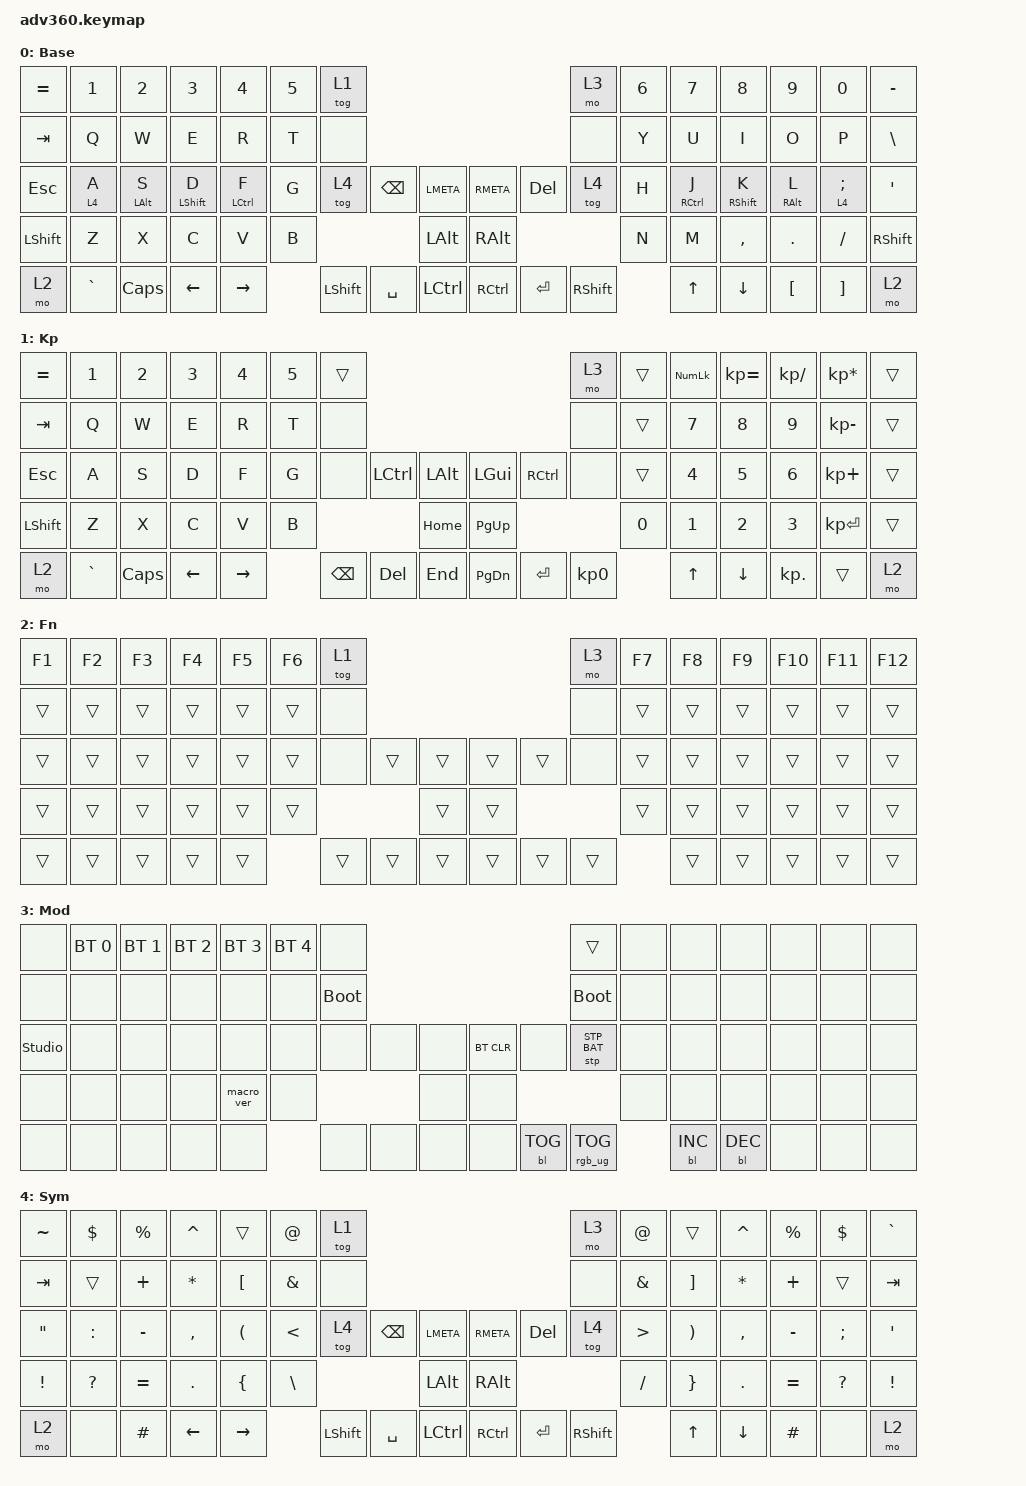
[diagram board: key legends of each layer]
#include <dt-bindings/zmk/stp.h>
#include <behaviors.dtsi>
#include <dt-bindings/zmk/backlight.h>
#include <dt-bindings/zmk/bt.h>
#include <dt-bindings/zmk/keys.h>
#include <dt-bindings/zmk/rgb.h>

/ {
    behaviors {
        #include "macros.dtsi"
      #include "version.dtsi"

        hml: hml {
            compatible = "zmk,behavior-hold-tap";
            label = "HML";
            #binding-cells = <2>;
            tapping-term-ms = <280>;
            flavor = "balanced";
            bindings = <&kp>, <&kp>;

            quick-tap-ms = <175>;
            require-prior-idle-ms = <150>;
            hold-trigger-on-release;
            hold-trigger-key-positions = <7 8 9 10 11 12 13 21 22 23 24 25 26 27 37 38 39 40 41 42 43 44 45 53 54 55 56 57 58 59 68 69 70 71 72 73 74 75>;
        };

        hmr: hmr {
            compatible = "zmk,behavior-hold-tap";
            label = "HMR";
            #binding-cells = <2>;
            tapping-term-ms = <280>;
            flavor = "balanced";
            bindings = <&kp>, <&kp>;

            quick-tap-ms = <175>;
            require-prior-idle-ms = <150>;
            hold-trigger-on-release;
            hold-trigger-key-positions = <0 1 2 3 4 5 6 14 15 16 17 18 19 20 28 29 30 31 32 33 34 35 36 46 47 48 49 50 51 52 60 61 62 63 64 65 66 67>;
        };

        hmlt: hmlt {
            compatible = "zmk,behavior-hold-tap";
            label = "HMLT";
            #binding-cells = <2>;
            tapping-term-ms = <280>;
            flavor = "balanced";
            bindings = <&mo>, <&kp>;

            quick-tap-ms = <175>;
            require-prior-idle-ms = <150>;
            hold-trigger-on-release;
            hold-trigger-key-positions = <7 8 9 10 11 12 13 21 22 23 24 25 26 27 37 38 39 40 41 42 43 44 45 53 54 55 56 57 58 59 68 69 70 71 72 73 74 75>;
        };

        hmrt: hmrt {
            compatible = "zmk,behavior-hold-tap";
            label = "HMRT";
            #binding-cells = <2>;
            tapping-term-ms = <280>;
            flavor = "balanced";
            bindings = <&mo>, <&kp>;

            quick-tap-ms = <175>;
            require-prior-idle-ms = <150>;
            hold-trigger-on-release;
            hold-trigger-key-positions = <0 0 1 2 3 4 5 6 14 15 16 17 18 19 20 28 29 30 31 32 33 34 35 36 46 47 48 49 50 51 52 60 61 62 63 64 65 66 67>;
        };
    };

    keymap {
        compatible = "zmk,keymap";

        default_layer {
            display-name = "Base";
            bindings = <
&kp EQUAL  &kp N1     &kp N2           &kp N3        &kp N4        &kp N5  &tog 1                                                                 &mo 3      &kp N6  &kp N7        &kp N8        &kp N9            &kp N0        &kp MINUS
&kp TAB    &kp Q      &kp W            &kp E         &kp R         &kp T   &none                                                                  &none      &kp Y   &kp U         &kp I         &kp O             &kp P         &kp BSLH
&kp ESC    &hmlt 4 A  &hml LEFT_ALT S  &hml LSHFT D  &hml LCTRL F  &kp G   &tog 4     &kp BACKSPACE  &kp LMETA         &kp RMETA      &kp DELETE  &tog 4     &kp H   &hmr RCTRL J  &hmr RSHFT K  &hmr RIGHT_ALT L  &hmrt 4 SEMI  &kp SQT
&kp LSHFT  &kp Z      &kp X            &kp C         &kp V         &kp B                             &kp LEFT_ALT      &kp RIGHT_ALT                         &kp N   &kp M         &kp COMMA     &kp DOT           &kp FSLH      &kp RSHFT
&mo 2      &kp GRAVE  &kp CAPS         &kp LEFT      &kp RIGHT             &kp LSHFT  &kp SPACE      &kp LCTRL         &kp RCTRL      &kp RET     &kp RSHFT          &kp UP        &kp DOWN      &kp LBKT          &kp RBKT      &mo 2
            >;
        };

        keypad {
            display-name = "Kp";
            bindings = <
&kp EQUAL  &kp N1     &kp N2    &kp N3    &kp N4     &kp N5  &trans                                                   &mo 3      &trans  &kp KP_NUM  &kp KP_EQUAL  &kp KP_DIVIDE  &kp KP_MULTIPLY  &trans
&kp TAB    &kp Q      &kp W     &kp E     &kp R      &kp T   &none                                                    &none      &trans  &kp N7      &kp N8        &kp N9         &kp KP_MINUS     &trans
&kp ESC    &kp A      &kp S     &kp D     &kp F      &kp G   &none     &kp LCTRL  &kp LALT      &kp LGUI   &kp RCTRL  &none      &trans  &kp N4      &kp N5        &kp N6         &kp KP_PLUS      &trans
&kp LSHFT  &kp Z      &kp X     &kp C     &kp V      &kp B                        &kp HOME      &kp PG_UP                        &kp N0  &kp N1      &kp N2        &kp N3         &kp KP_ENTER     &trans
&mo 2      &kp GRAVE  &kp CAPS  &kp LEFT  &kp RIGHT          &kp BSPC  &kp DEL    &kp END       &kp PG_DN  &kp ENTER  &kp KP_N0          &kp UP      &kp DOWN      &kp KP_DOT     &trans           &mo 2
            >;
        };

        fn {
            display-name = "Fn";
            bindings = <
&kp F1  &kp F2  &kp F3  &kp F4  &kp F5  &kp F6  &tog 1                                      &mo 3   &kp F7  &kp F8  &kp F9  &kp F10  &kp F11  &kp F12
&trans  &trans  &trans  &trans  &trans  &trans  &none                                       &none   &trans  &trans  &trans  &trans   &trans   &trans
&trans  &trans  &trans  &trans  &trans  &trans  &none   &trans  &trans      &trans  &trans  &none   &trans  &trans  &trans  &trans   &trans   &trans
&trans  &trans  &trans  &trans  &trans  &trans                  &trans      &trans                  &trans  &trans  &trans  &trans   &trans   &trans
&trans  &trans  &trans  &trans  &trans          &trans  &trans  &trans      &trans  &trans  &trans          &trans  &trans  &trans   &trans   &trans
            >;
        };

        mod {
            display-name = "Mod";
            bindings = <
&none           &bt BT_SEL 0  &bt BT_SEL 1  &bt BT_SEL 2  &bt BT_SEL 3  &bt BT_SEL 4  &none                                                  &trans           &none  &none       &none       &none  &none  &none
&none           &none         &none         &none         &none         &none         &bootloader                                            &bootloader      &none  &none       &none       &none  &none  &none
&studio_unlock  &none         &none         &none         &none         &none         &none        &none  &none      &bt BT_CLR  &none       &stp STP_BAT     &none  &none       &none       &none  &none  &none
&none           &none         &none         &none         &macro_ver    &none                             &none      &none                                    &none  &none       &none       &none  &none  &none
&none           &none         &none         &none         &none                       &none        &none  &none      &none       &bl BL_TOG  &rgb_ug RGB_TOG         &bl BL_INC  &bl BL_DEC  &none  &none  &none
            >;
        };

        symbol {
            display-name = "Sym";
            bindings = <
&kp TILDE          &kp DOLLAR    &kp PERCENT  &kp CARET   &trans                &kp AT         &tog 1                                                              &mo 3      &kp AT            &trans    &kp CARET   &kp PERCENT  &kp DOLLAR    &kp GRAVE
&kp TAB            &trans        &kp PLUS     &kp ASTRK   &kp LBKT              &kp AMPS       &none                                                               &none      &kp AMPS          &kp RBKT  &kp ASTRK   &kp PLUS     &trans        &kp TAB
&kp DOUBLE_QUOTES  &kp COLON     &kp MINUS    &kp COMMA   &kp LEFT_PARENTHESIS  &kp LESS_THAN  &tog 4     &kp BACKSPACE  &kp LMETA         &kp RMETA      &kp DEL  &tog 4     &kp GREATER_THAN  &kp RPAR  &kp COMMA   &kp MINUS    &kp SEMI      &kp APOS
&kp EXCL           &kp QUESTION  &kp EQUAL    &kp PERIOD  &kp LBRC              &kp BACKSLASH                            &kp LEFT_ALT      &kp RIGHT_ALT                      &kp SLASH         &kp RBRC  &kp PERIOD  &kp EQUAL    &kp QUESTION  &kp EXCL
&mo 2              &none         &kp HASH     &kp LEFT    &kp RIGHT                            &kp LSHFT  &kp SPACE      &kp LCTRL         &kp RCTRL      &kp RET  &kp RSHFT                    &kp UP    &kp DOWN    &kp HASH     &none         &mo 2
            >;
        };
    };
};
